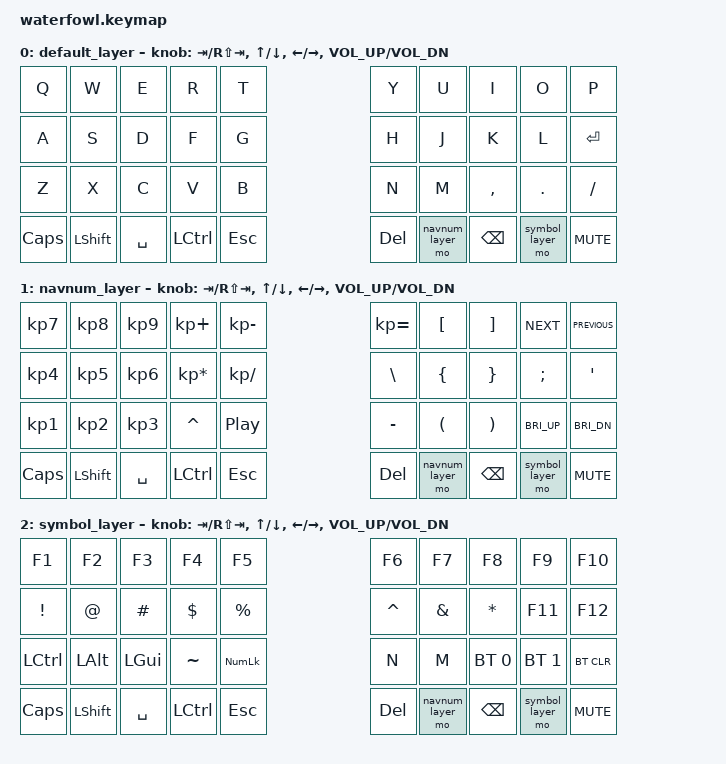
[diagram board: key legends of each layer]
/*
 * Copyright (c) 2022 The ZMK Contributors
 *
 * SPDX-License-Identifier: MIT
 */

#include <behaviors.dtsi>
#include <dt-bindings/zmk/keys.h>
#include <dt-bindings/zmk/bt.h>


#define DEFAULT 0
#define navnum_layer   1
#define symbol_layer   2

/ {
	keymap {
		compatible = "zmk,keymap";

		default_layer {
/* QWERTY
 *
 * ,----------------------------------.                      ,----------------------------------.
 * |   Q  |   W  |   E  |   R  |   T  |                      |   Y  |   U  |   I  |   O  |   P  |
 * |------+------+------+------+------|                      |------+------+------+------+------|
 * |   A  |   S  |   D  |   F  |   G  |                      |   H  |   J  |   K  |   L  | ENTER|
 * |------+------+------+------+------|  ,-----.    ,-----.  |------+------+------+------+------|
 * |   Z  |   X  |   C  |   V  |   B  |  | ESC |    | DEL |  |   N  |   M  |   ,  |   .  |  /?  |
 * `----------------------------------'  `-----'    `-----'  `----------------------------------'
 *          ,-----.   ,--------------------.            ,--------------------.   ,-----. 
 *          | Caps|   | LSFT | SPACE | ctrl|            |  L1   | BS |  L2   |   |Gaming|	
 *          `-----'   `--------------------'            `--------------------'   `-----'
 */
			bindings = <
	&kp Q		&kp W		&kp E		&kp R		&kp T							&kp Y	&kp U		&kp I		&kp O		&kp P
	&kp A		&kp S		&kp D		&kp F		&kp G							&kp H	&kp J		&kp K		&kp L		&kp ENTER
	&kp Z		&kp X		&kp C		&kp V		&kp B							&kp N	&kp M		&kp COMMA	&kp DOT		&kp FSLH
				&kp CAPS	&kp LSHFT	&kp SPACE  &kp LCTRL	&kp ESC		&kp DEL	&mo navnum_layer &kp BSPC &mo symbol_layer	&kp C_MUTE
			>;

			sensor-bindings = <
				&inc_dec_kp TAB RS(TAB)
				&inc_dec_kp UP DOWN
				&inc_dec_kp LEFT RIGHT
				&inc_dec_kp C_VOL_UP C_VOL_DN 
			>;
		};

		navnum_layer {
/* NAVNUM
 *
 * ,----------------------------------.                      ,----------------------------------.
 * |   7  |   8  |   9  |   +  |   -  |                      |   =  |   [  |   ]  | next | back |
 * |------+------+------+------+------|                      |------+------+------+------+------|
 * |   4  |   5  |   6  |   *  |   /  |                      |  |\  |   {  |   }  |   ;  |  "   |
 * |------+------+------+------+------|  ,-----.    ,-----.  |------+------+------+------+------|
 * |   1  |   2  |   3  |   ^  | PAUSE|  | ESC |    | DEL |  |  _-  |   (  |   )  | BRGUP| BRGDN|
 * `----------------------------------'  `-----'    `-----'  `----------------------------------'
 *          ,-----.   ,--------------------.            ,--------------------.   ,-----. 
 *          | Caps|   | LSFT | SPACE | TAB |            |  L1   | BS |  L2   |   |Gaming|	
 *          `-----'   `--------------------'            `--------------------'   `-----'
 */
			bindings = <
	&kp KP_N7	&kp KP_N8	&kp KP_N9	&kp KP_PLUS	&kp KP_MINUS				   &kp KP_EQUAL &kp LBKT	&kp RBKT	&kp C_NEXT	&kp C_PREVIOUS
	&kp KP_N4	&kp KP_N5	&kp KP_N6 &kp KP_MULTIPLY &kp KP_DIVIDE				  	&kp BSLH	&kp LBRC	&kp RBRC	&kp SEMI	&kp SQT
	&kp KP_N1	&kp KP_N2	&kp KP_N3	&kp CARET	&kp C_PP						&kp MINUS	&kp LPAR	&kp RPAR	&kp C_BRI_UP &kp C_BRI_DN
				&kp CAPS	&kp LSHFT	&kp SPACE  &kp LCTRL	&kp ESC		&kp DEL	&mo navnum_layer &kp BSPC &mo symbol_layer	&kp C_MUTE
			>;

			sensor-bindings = <
				&inc_dec_kp TAB RS(TAB)
				&inc_dec_kp UP DOWN
				&inc_dec_kp LEFT RIGHT
				&inc_dec_kp C_VOL_UP C_VOL_DN 
			>;
		};

		symbol_layer {
/* SYM
 *
 * ,----------------------------------.                      ,----------------------------------.
 * |  F1  |  F2  |  F3  |  F4  |  F5  |                      |  F6  |  F7  |  F8  |  F9  |  F10 |
 * |------+------+------+------+------|                      |------+------+------+------+------|
 * |   !  |   @  |   #  |   $  |   %  |                      |   ^  |   &  |   *  |  F11 |  F12 |
 * |------+------+------+------+------|  ,-----.    ,-----.  |------+------+------+------+------|
 * | CTRL |  ALT |  GUI |   ~  |  NUM |  | ESC |    | DEL |  |      |      |  BT0 |  BT1 | BLT  |
 * `----------------------------------'  `-----'    `-----'  `----------------------------------'
 *          ,-----.   ,--------------------.            ,--------------------.   ,-----. 
 *          | Caps|   | LSFT | SPACE | TAB |            |  L1   | BS |  L2   |   |Gaming|	
 *          `-----'   `--------------------'            `--------------------'   `-----'
 */
			bindings = <
	&kp F1		&kp F2		&kp F3		&kp F4		&kp F5							&kp F6		&kp F7		&kp F8		 &kp F9			&kp F10
	&kp EXCL	&kp AT		&kp HASH	&kp DLLR	&kp PRCNT					    &kp CARET 	&kp AMPS	&kp STAR	 &kp F11		&kp F12
	&kp LCTRL	&kp LALT 	&kp LGUI 	&kp TILDE	&kp KP_NUM					&kp N		&kp M		&bt BT_SEL 0 &bt BT_SEL 1	&bt BT_CLR
				&kp CAPS	&kp LSHFT	&kp SPACE  &kp LCTRL	&kp ESC		&kp DEL	&mo navnum_layer &kp BSPC &mo symbol_layer	&kp C_MUTE
			>;

			sensor-bindings = <
				&inc_dec_kp TAB RS(TAB)
				&inc_dec_kp UP DOWN
				&inc_dec_kp LEFT RIGHT
				&inc_dec_kp C_VOL_UP C_VOL_DN
			>;
		};



	};
};
